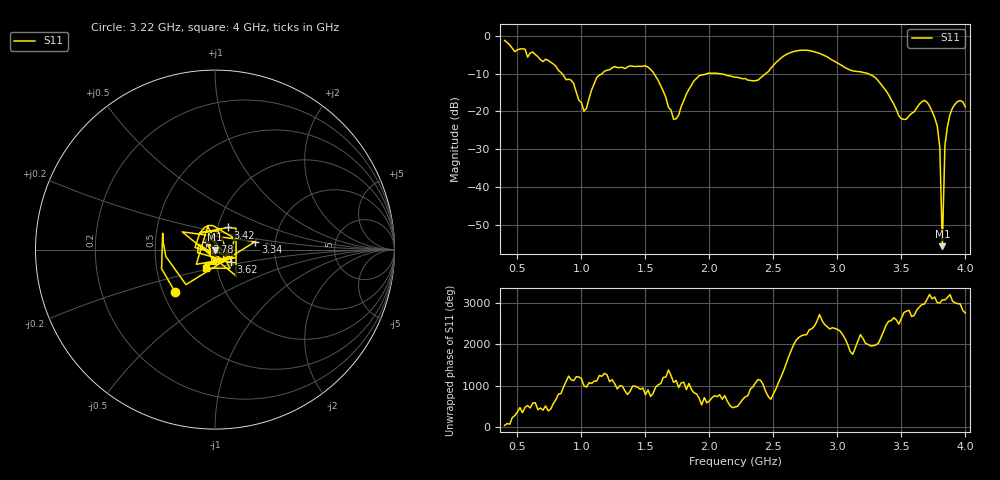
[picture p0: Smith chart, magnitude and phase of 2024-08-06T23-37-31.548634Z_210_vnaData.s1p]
!Created with skrf (http://scikit-rf.org).
# Hz S RI R 50.0
!freq ReS11 ImS11
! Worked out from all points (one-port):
!   181 points, 400 MHz to 4 GHz, reference 50 ohm
!   lowest |S11| = -55.7 dB at 3.82 GHz (marker M1), VSWR 1.00, Z = 49.9 - j0.0785 ohm
!   |S11| at or under -10 dB: 1.568 GHz to 1.981 GHz (413.3 MHz wide, 23.3 % of centre); 2.077 GHz to 2.439 GHz (361.8 MHz wide, 16 % of centre); 3.239 GHz to end of sweep (the widest 3 of 4)
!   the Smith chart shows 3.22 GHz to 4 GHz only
!   S11 on the Smith chart (normalised r, x): 3.22 GHz: 0.58, -0.30; 3.34 GHz: 1.57, +0.15; 3.42 GHz: 1.12, +0.28; 3.62 GHz: 1.18, -0.17; 3.78 GHz: 0.91, +0.08; 4 GHz: 0.89, -0.19
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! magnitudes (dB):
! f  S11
! 400 MHz  -1.2
! 860 MHz  -10.5
! 940 MHz  -12.7
! 1.02 GHz  -20.0
! 1.12 GHz  -11.1
! 1.3 GHz  -8.4
! 1.52 GHz  -8.3
! 1.72 GHz  -22.1
! 1.76 GHz  -21.0
! 1.92 GHz  -10.5
! 2.2 GHz  -11.0
! 2.38 GHz  -11.7
! 2.66 GHz  -4.1
! 3.1 GHz  -9.1
! 3.22 GHz  -9.8
! 3.34 GHz  -12.8
! 3.42 GHz  -16.9
! 3.5 GHz  -21.9
! 3.56 GHz  -21.2
! 3.62 GHz  -19.1
! 3.7 GHz  -17.6
! 3.78 GHz  -23.9
! 3.8 GHz  -29.4
! 3.82 GHz  -55.7
! 3.84 GHz  -29.0
! 3.86 GHz  -24.0
! 3.92 GHz  -18.1
! 4 GHz  -18.9
